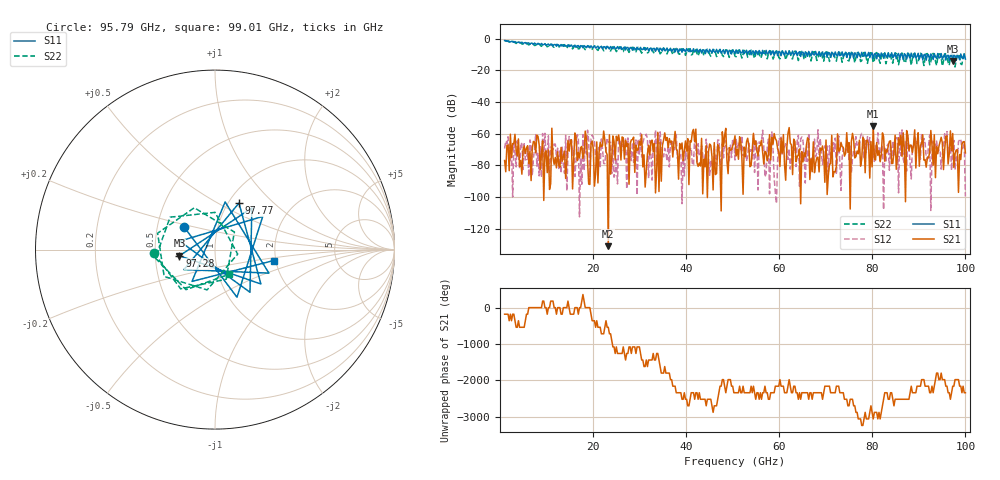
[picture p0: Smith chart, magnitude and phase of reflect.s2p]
!Created with skrf (http://scikit-rf.org).
# GHz S RI R 50.0
!freq ReS11 ImS11 ReS21 ImS21 ReS12 ImS12 ReS22 ImS22
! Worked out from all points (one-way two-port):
!   401 points, 1 GHz to 100 GHz, reference 50 ohm
!   highest |S21| = -55.37 dB at 80.2 GHz (marker M1); lowest = -131.2 dB at 23.27 GHz (marker M2)
!   lowest |S11| = -13.9 dB at 97.28 GHz (marker M3), VSWR 1.50, Z = 33.4 - j2.4 ohm
!   |S11| at or under -10 dB: 72.27614 GHz to 72.61464 GHz (338.5 MHz wide, 0.467 % of centre); 72.95634 GHz to 73.31738 GHz (361 MHz wide, 0.494 % of centre); 96.3 GHz to 97.52 GHz (1.219 GHz wide, 1.26 % of centre) (the widest 3 of 61)
!   |S22| runs from -17.8 to -1.2 dB; largest |S21 - S12| = 0.0022
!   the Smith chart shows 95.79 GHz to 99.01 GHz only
!   S11 on the Smith chart (normalised r, x): 95.79 GHz: 0.69, +0.18; 97.28 GHz: 0.67, -0.05; 97.77 GHz: 1.12, +0.63; 99.01 GHz: 1.94, -0.27
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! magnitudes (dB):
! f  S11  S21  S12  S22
! 1 GHz  -1.1  -76.9  -69.4  -1.4
! 2.732 GHz  -1.9  -66.2  -100.0  -1.7
! 17.58 GHz  -4.5  -68.1  -91.9  -4.2
! 23.27 GHz  -5.3  -131.2  -65.3  -5.5
! 24.51 GHz  -4.9  -64.9  -87.5  -5.2
! 34.16 GHz  -7.8  -96.5  -66.3  -7.4
! 41.59 GHz  -6.3  -57.3  -79.8  -7.5
! 42.83 GHz  -7.2  -78.5  -74.1  -8.6
! 45.3 GHz  -7.8  -67.4  -76.6  -11.1
! 50.5 GHz  -9.5  -61.3  -76.6  -11.0
! 57.18 GHz  -7.4  -71.9  -85.2  -11.0
! 62.13 GHz  -7.7  -56.1  -69.4  -7.7
! 67.08 GHz  -8.0  -84.0  -73.9  -10.6
! 75.5 GHz  -9.1  -65.0  -85.0  -8.5
! 77.48 GHz  -11.6  -80.5  -61.4  -14.4
! 80.2 GHz  -12.4  -55.4  -68.1  -15.1
! 83.67 GHz  -11.4  -64.8  -83.1  -8.8
! 95.79 GHz  -13.5  -61.6  -65.5  -9.4
! 97.28 GHz  -13.9  -59.9  -68.6  -9.9
! 97.77 GHz  -10.7  -72.6  -82.3  -17.8
! 99.01 GHz  -9.6  -76.3  -63.3  -16.0
! 100 GHz  -12.8  -72.2  -99.6  -10.2
